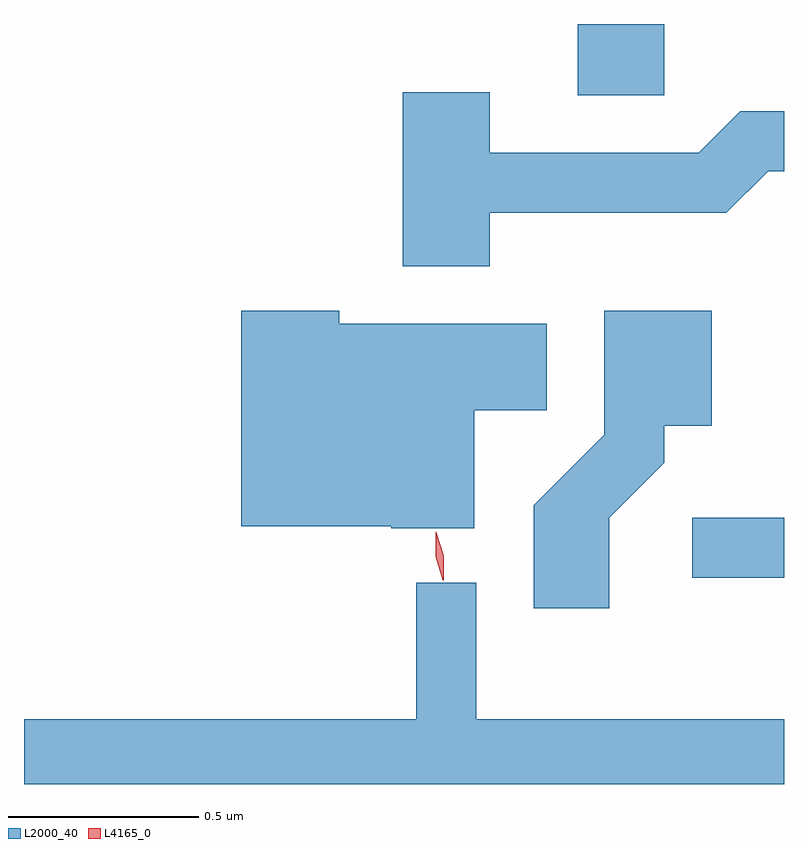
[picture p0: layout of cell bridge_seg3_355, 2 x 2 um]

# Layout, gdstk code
import gdstk
lib = gdstk.Library(unit=1e-6, precision=1e-09)
def R(c, l, rs):  # rectangles x0, y0, x1, y1
    for r in rs: c.add(gdstk.rectangle(r[:2], r[2:], *l))
def P(c, l, *ps):  # polygons
    for p in ps: c.add(gdstk.Polygon(p, *l))
L2000_40 = (2000, 40)
L4165_0 = (4165, 0)

bridge_seg3_355 = lib.new_cell('bridge_seg3_355')
R(bridge_seg3_355, L2000_40, [(530.213,1126.656,530.454,1126.814), (529.911,1127.926,530.139,1128.113)])
P(bridge_seg3_355, L2000_40, [(529.679,1127.616),(530.302,1127.616),(530.412,1127.726),(530.454,1127.726),(530.454,1127.884),(530.339,1127.884),(530.229,1127.774),(529.679,1127.774),(529.679,1127.934),(529.451,1127.934),(529.451,1127.476),(529.679,1127.476)],
  [(529.994,1126.814),(530.139,1126.959),(530.139,1127.056),(530.264,1127.056),(530.264,1127.359),(529.981,1127.359),(529.981,1127.032),(529.796,1126.847),(529.796,1126.576),(529.994,1126.576)],
  [(529.639,1127.096),(529.829,1127.096),(529.829,1127.324),(529.284,1127.324),(529.284,1127.359),(529.026,1127.359),(529.026,1126.791),(529.42,1126.791),(529.42,1126.786),(529.639,1126.786)],
  [(530.454,1126.284),(529.644,1126.284),(529.644,1126.643),(529.486,1126.643),(529.486,1126.284),(528.454,1126.284),(528.454,1126.113),(530.454,1126.113)])
P(bridge_seg3_355, L4165_0, [(529.556,1126.649),(529.538,1126.711),(529.538,1126.776),(529.539,1126.777),(529.539,1126.776),(529.558,1126.714),(529.558,1126.649),(529.557,1126.649)])

lib.write_gds('bridge_seg3_355.gds')
